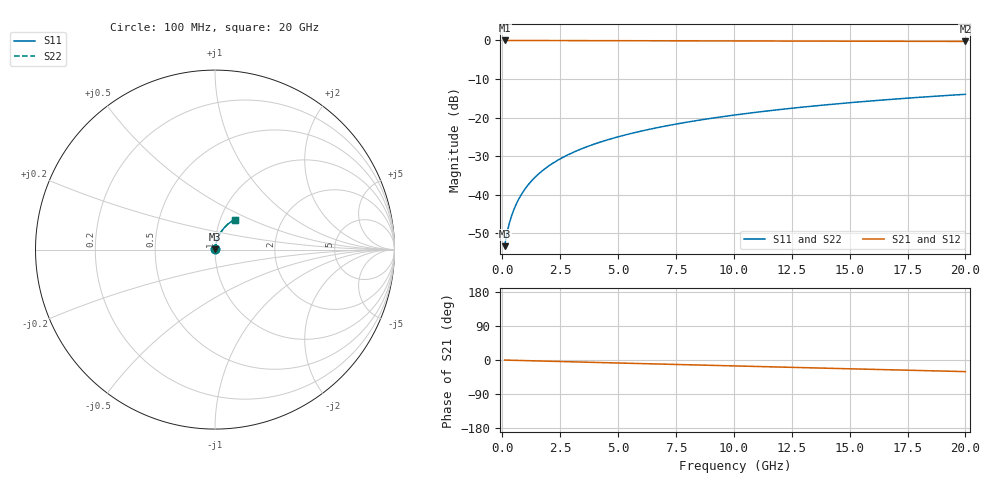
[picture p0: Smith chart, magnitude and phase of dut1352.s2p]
! Touchstone file exported from HFSS 2026.1.0
!  File:  C:/ffzhzh/LocalFiles/Ansys_Project_Files/temp_train_TMRDL_1352_1783165551_51560.aedt
!  Generated:  07:47:03 PM Jul  4, 2026
!  Design:  TMRDL
!  Project:  temp_train_TMRDL_1352_1783165551_51560
! Variables:
!  h_bsmrdl = 2um
!  h_ox = 20um
!  h_rdl = 5um
!  h_sub = 80um
!  h_tmrdl = 5.65um
!  h_tsv = 80um
!  h_via = 3um
!  l_bsmrdl = 300um
!  l_sub = 895.04um
!  l_tmrdl = 495.04um
!  m_sub = 200um
!  pitch = 35.84um
!  r_tsv = 6um
!  s_tmrdl = 10um
!  w_bsmrdl = 18um
!  w_sub = 500um
!  w_tmrdl = 20.67um
!  x_tsv_center1 = 505.375um
!  x_tsv_center2 = 823.375um
!  x_tsv_center3 = 1339.085um
!  x_tsv_center4 = 1657.085um
!  x_tsv_center5 = 2172.795um
!  x_tsv_center6 = 2490.795um
# GHz S MA R 50.000000
! Terminal data exported
! Port[1] = TM_RDL1_1_T1
! Port[2] = TM_RDL1_1_T2
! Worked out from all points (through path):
!   200 points, 100 MHz to 20 GHz, reference 50 ohm
!   highest |S21| = -0.01 dB at 100 MHz (marker M1); lowest = -0.3 dB at 20 GHz (marker M2)
!   group delay of S21, straight-line fit = 4.25 ps
!   lowest |S11| = -53.3 dB at 100 MHz (marker M3), VSWR 1.00, Z = 50.2 + j0.137 ohm
!   |S11| at or under -10 dB: start of sweep to end of sweep
!   |S22| runs from -53.3 to -14.0 dB; largest |S21 - S12| = 4.4e-15
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0.1  0.002163 39.1  0.9983 -0.2  0.9983 -0.2  0.002163 39.1
! Gamma 0 0 0 0
! Port Impedance 50 0 50 0
0.2  0.00318 54.8  0.9982 -0.3  0.9982 -0.3  0.00318 54.8
0.3  0.00424 62.6  0.9981 -0.5  0.9981 -0.5  0.00424 62.6
0.4  0.005323 67.4  0.998 -0.7  0.998 -0.7  0.005323 67.4
0.5  0.006428 70.7  0.9979 -0.8  0.9979 -0.8  0.006428 70.7
0.6  0.00755 73.0  0.9979 -1.0  0.9979 -1.0  0.00755 73.0
0.8  0.009826 75.9  0.9978 -1.3  0.9978 -1.3  0.009826 75.9
1.1  0.01328 78.2  0.9976 -1.8  0.9976 -1.8  0.01328 78.2
1.3  0.01558 79.0  0.9975 -2.1  0.9975 -2.1  0.01558 79.0
1.6  0.01903 79.6  0.9972 -2.6  0.9972 -2.6  0.01903 79.6
2.1  0.02474 79.9  0.9968 -3.4  0.9968 -3.4  0.02473 79.9
2.7  0.03148 79.6  0.9962 -4.3  0.9962 -4.3  0.03148 79.6
3.5  0.0403 78.8  0.9953 -5.6  0.9953 -5.6  0.04029 78.8
4.2  0.04787 78.0  0.9945 -6.7  0.9945 -6.7  0.04787 78.0
5  0.0564 77.1  0.9935 -7.9  0.9935 -7.9  0.0564 77.1
5.9  0.06587 75.9  0.9924 -9.3  0.9924 -9.3  0.06587 76.0
6.8  0.07523 74.8  0.9913 -10.7  0.9913 -10.7  0.07523 74.8
8.3  0.09061 72.8  0.9894 -13.0  0.9894 -13.0  0.09061 72.8
10.1  0.1087 70.4  0.9869 -15.8  0.9869 -15.8  0.1087 70.4
13.4  0.1409 65.8  0.9818 -20.8  0.9818 -20.8  0.1409 65.9
16.7  0.1715 61.2  0.9761 -25.8  0.9761 -25.8  0.1715 61.3
20  0.2004 56.5  0.9699 -30.7  0.9699 -30.7  0.2004 56.6
